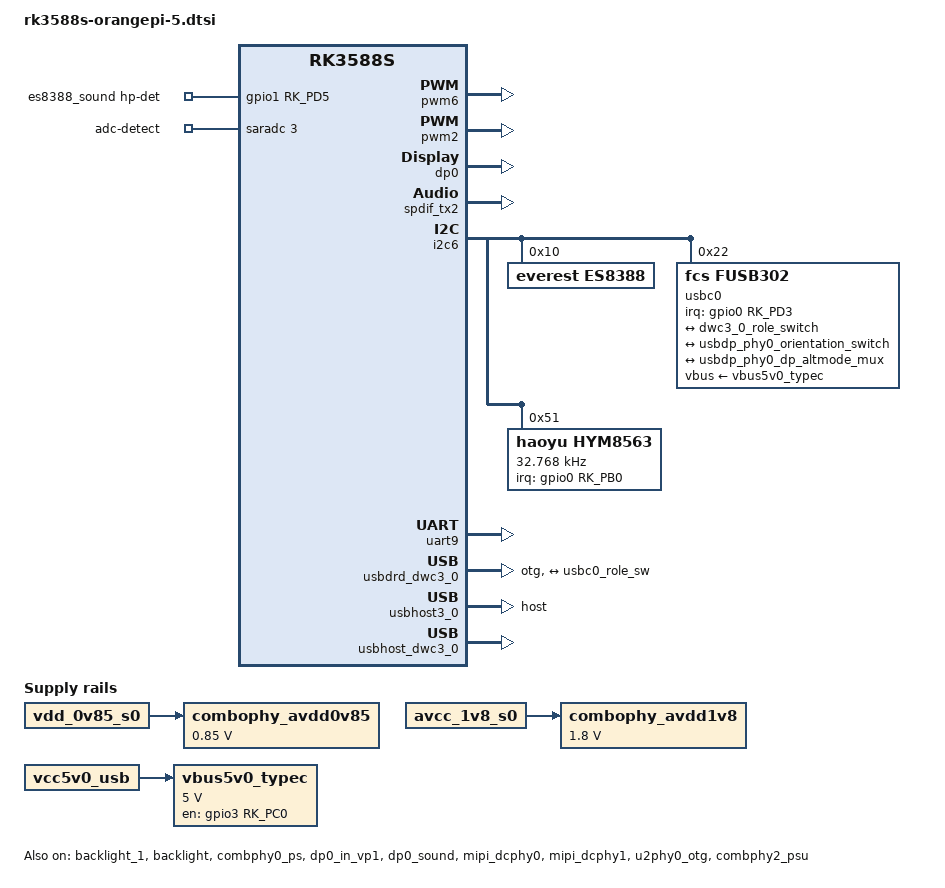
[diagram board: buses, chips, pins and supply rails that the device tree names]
// SPDX-License-Identifier: (GPL-2.0+ OR MIT)
/*
 * Copyright (c) 2021 Rockchip Electronics Co., Ltd.
 *
 */

#include "dt-bindings/usb/pd.h"
#include "rk3588s.dtsi"
#include "rk3588s-orangepi.dtsi"
#include "rk3588-rk806-single.dtsi"

/ {
	combophy_avdd0v85: combophy-avdd0v85 {
		compatible = "regulator-fixed";
		regulator-name = "combophy_avdd0v85";
		regulator-boot-on;
		regulator-always-on;
		regulator-min-microvolt = <850000>;
		regulator-max-microvolt = <850000>;
		vin-supply = <&vdd_0v85_s0>;
	};

	combophy_avdd1v8: combophy-avdd1v8 {
		compatible = "regulator-fixed";
		regulator-name = "combophy_avdd1v8";
		regulator-boot-on;
		regulator-always-on;
		regulator-min-microvolt = <1800000>;
		regulator-max-microvolt = <1800000>;
		vin-supply = <&avcc_1v8_s0>;
	};

	es8388_sound: es8388-sound {
		status = "okay";
		compatible = "rockchip,multicodecs-card";
		rockchip,card-name = "rockchip-es8388";
		hp-det-gpio = <&gpio1 RK_PD5 GPIO_ACTIVE_HIGH>;
		io-channels = <&saradc 3>;
		io-channel-names = "adc-detect";
		keyup-threshold-microvolt = <1800000>;
		poll-interval = <100>;
		rockchip,format = "i2s";
		rockchip,mclk-fs = <256>;
		rockchip,cpu = <&i2s1_8ch>;
		rockchip,codec = <&es8388>;
		rockchip,audio-routing =
			"Headphone", "LOUT1",
			"Headphone", "ROUT1",
			"Headphone", "Headphone Power",
			"Headphone", "Headphone Power",
			"LINPUT1", "Main Mic",
			"LINPUT2", "Main Mic",
			"RINPUT1", "Headset Mic",
			"RINPUT2", "Headset Mic";
		pinctrl-names = "default";
		pinctrl-0 = <&hp_det>;
		play-pause-key {
			label = "playpause";
			linux,code = <KEY_PLAYPAUSE>;
			press-threshold-microvolt = <2000>;
		};
	};

	wireless_bluetooth: wireless-bluetooth {
		compatible = "bluetooth-platdata";
		clocks = <&hym8563>;
		clock-names = "ext_clock";
		uart_rts_gpios = <&gpio3 RK_PD2 GPIO_ACTIVE_LOW>;
		pinctrl-names = "default", "rts_gpio";
		pinctrl-0 = <&uart9m2_rtsn>, <&bt_gpio>;
		pinctrl-1 = <&uart9_gpios>;
		BT,reset_gpio    = <&gpio3 RK_PA6 GPIO_ACTIVE_HIGH>;
		BT,wake_gpio     = <&gpio0 RK_PC6 GPIO_ACTIVE_HIGH>;
		status = "disabled";
	};

	wireless_wlan: wireless-wlan {
		compatible = "wlan-platdata";
		wifi_chip_type = "ap6275p";
		pinctrl-names = "default";
		pinctrl-0 = <&wifi_host_wake_irq>, <&wifi_poweren_gpio>;
		WIFI,host_wake_irq = <&gpio0 RK_PA0 GPIO_ACTIVE_HIGH>;
		WIFI,poweren_gpio = <&gpio0 RK_PD0 GPIO_ACTIVE_HIGH>;
		status = "disabled";
	};

	vbus5v0_typec: vbus5v0-typec {
		compatible = "regulator-fixed";
		regulator-name = "vbus5v0_typec";
		regulator-min-microvolt = <5000000>;
		regulator-max-microvolt = <5000000>;
		enable-active-high;
		gpio = <&gpio3 RK_PC0 GPIO_ACTIVE_HIGH>;
		vin-supply = <&vcc5v0_usb>;
		pinctrl-names = "default";
		pinctrl-0 = <&typec5v_pwren>;
	};
};

&pwm6 {
	status = "okay";
	pinctrl-names = "active";
	pinctrl-0 = <&pwm6m0_pins>;
};

&pwm2 {
	status = "okay";
	pinctrl-names = "active";
	pinctrl-0 = <&pwm2m0_pins>;
};

&backlight_1 {
	pwms = <&pwm6 0 25000 0>;
	status = "okay";
};

&backlight {
	pwms = <&pwm2 0 25000 0>;
	status = "okay";
};

&combphy0_ps {
	status = "okay";
};

&dp0 {
	status = "okay";
};

&dp0_in_vp1 {
	status = "okay";
};

&dp0_in_vp2 {
	status = "disabled";
};

&dp0_sound{
	status = "okay";
};

&spdif_tx2{
	status = "okay";
};

&mipi_dcphy0 {
	status = "okay";
};

&mipi_dcphy1 {
	status = "okay";
};

&i2c6 {
	status = "okay";
	pinctrl-names = "default";
	pinctrl-0 = <&i2c6m3_xfer>;

	es8388: es8388@10 {
		status = "okay";
		#sound-dai-cells = <0>;
		compatible = "everest,es8388", "everest,es8323";
		reg = <0x10>;
		clocks = <&cru I2S1_8CH_MCLKOUT>;
		clock-names = "mclk";
		assigned-clocks = <&cru I2S1_8CH_MCLKOUT>;
		assigned-clock-rates = <12288000>;
		pinctrl-names = "default";
		pinctrl-0 = <&i2s1m0_mclk>;
	};

	usbc0: fusb302@22 {
		compatible = "fcs,fusb302";
		reg = <0x22>;
		interrupt-parent = <&gpio0>;
		interrupts = <RK_PD3 IRQ_TYPE_LEVEL_LOW>;
		pinctrl-names = "default";
		pinctrl-0 = <&usbc0_int>;
		vbus-supply = <&vbus5v0_typec>;
		status = "okay";

		ports {
			#address-cells = <1>;
			#size-cells = <0>;

			port@0 {
				reg = <0>;
				usbc0_role_sw: endpoint@0 {
					remote-endpoint = <&dwc3_0_role_switch>;
				};
			};
		};

		usb_con: connector {
			compatible = "usb-c-connector";
			label = "USB-C";
			data-role = "dual";
			power-role = "dual";
			try-power-role = "sink";
			op-sink-microwatt = <1000000>;
			sink-pdos =
				<PDO_FIXED(5000, 1000, PDO_FIXED_USB_COMM)>;
			source-pdos =
				<PDO_FIXED(5000, 3000, PDO_FIXED_USB_COMM)>;

			altmodes {
				#address-cells = <1>;
				#size-cells = <0>;

				altmode@0 {
					reg = <0>;
					svid = <0xff01>;
					vdo = <0xffffffff>;
				};
			};

			ports {
				#address-cells = <1>;
				#size-cells = <0>;

				port@0 {
					reg = <0>;
					usbc0_orien_sw: endpoint {
						remote-endpoint = <&usbdp_phy0_orientation_switch>;
					};
				};

				port@1 {
					reg = <1>;
					dp_altmode_mux: endpoint {
						remote-endpoint = <&usbdp_phy0_dp_altmode_mux>;
					};
				};
			};
		};
	};

	hym8563: hym8563@51 {
		compatible = "haoyu,hym8563";
		reg = <0x51>;
		#clock-cells = <0>;
		clock-frequency = <32768>;
		clock-output-names = "hym8563";
		pinctrl-names = "default";
		pinctrl-0 = <&hym8563_int>;
		interrupt-parent = <&gpio0>;
		interrupts = <RK_PB0 IRQ_TYPE_LEVEL_LOW>;
		wakeup-source;
	};
};

&pcie2x1l1 {
	status = "disabled";
};

&pcie2x1l2 {
	reset-gpios = <&gpio3 RK_PD1 GPIO_ACTIVE_HIGH>;
	rockchip,skip-scan-in-resume;
	status = "disabled";
};

&pinctrl {
	sata {
		sata_reset:sata-reset{
			rockchip,pins = <3 RK_PD1 RK_FUNC_GPIO &pcfg_pull_up>;
		};
	};

	headphone {
		hp_det: hp-det {
			rockchip,pins = <1 RK_PD5 RK_FUNC_GPIO &pcfg_pull_none>;
		};
	};

	hym8563 {
		hym8563_int: hym8563-int {
			rockchip,pins = <0 RK_PB0 RK_FUNC_GPIO &pcfg_pull_up>;
		};
	};

	lcd {
		lcd0_rst_gpio: lcd0-rst-gpio {
			rockchip,pins = <1 RK_PB1 RK_FUNC_GPIO &pcfg_pull_none>;
		};

		lcd1_rst_gpio: lcd1-rst-gpio {
			rockchip,pins = <1 RK_PB3 RK_FUNC_GPIO &pcfg_pull_none>;
		};
	};

	usb-typec {
		usbc0_int: usbc0-int {
			rockchip,pins = <0 RK_PD3 RK_FUNC_GPIO &pcfg_pull_up>;
		};

		typec5v_pwren: typec5v-pwren {
			rockchip,pins = <3 RK_PC0 RK_FUNC_GPIO &pcfg_pull_none>;
		};
	};

	wireless-bluetooth {
		uart9_gpios: uart9-gpios {
			rockchip,pins = <3 RK_PD2 RK_FUNC_GPIO &pcfg_pull_none>;
		};

		bt_gpio: bt-gpio {
			rockchip,pins =
				<3 RK_PA6 RK_FUNC_GPIO &pcfg_pull_none>,
				<0 RK_PC6 RK_FUNC_GPIO &pcfg_pull_up>;
		};
	};

	wireless-wlan {
		wifi_host_wake_irq: wifi-host-wake-irq {
			rockchip,pins = <0 RK_PA0 RK_FUNC_GPIO &pcfg_pull_down>;
		};

		wifi_poweren_gpio: wifi-poweren-gpio {
			rockchip,pins = <0 RK_PD0 RK_FUNC_GPIO &pcfg_pull_up>;
		};
	};
};

&u2phy0_otg {
	rockchip,typec-vbus-det;
	status = "okay";
};

&uart9 {
	status = "okay";
	pinctrl-names = "default";
	pinctrl-0 = <&uart9m2_xfer &uart9m2_ctsn>;
};

&usbdp_phy0 {
	orientation-switch;
	svid = <0xff01>;
	sbu1-dc-gpios = <&gpio4 RK_PA5 GPIO_ACTIVE_HIGH>;
	sbu2-dc-gpios = <&gpio4 RK_PA7 GPIO_ACTIVE_HIGH>;

	port {
		#address-cells = <1>;
		#size-cells = <0>;
		usbdp_phy0_orientation_switch: endpoint@0 {
			reg = <0>;
			remote-endpoint = <&usbc0_orien_sw>;
		};

		usbdp_phy0_dp_altmode_mux: endpoint@1 {
			reg = <1>;
			remote-endpoint = <&dp_altmode_mux>;
		};
	};
};

&usbdrd_dwc3_0 {
	status = "okay";
	dr_mode = "otg";
	usb-role-switch;
	port {
		#address-cells = <1>;
		#size-cells = <0>;
		dwc3_0_role_switch: endpoint@0 {
			reg = <0>;
			remote-endpoint = <&usbc0_role_sw>;
		};
	};
};

&combphy2_psu {
        status = "okay";
};

&usbhost3_0 {
	dr_mode = "host";
	status = "okay";
};

&usbhost_dwc3_0 {
	status = "okay";
};
